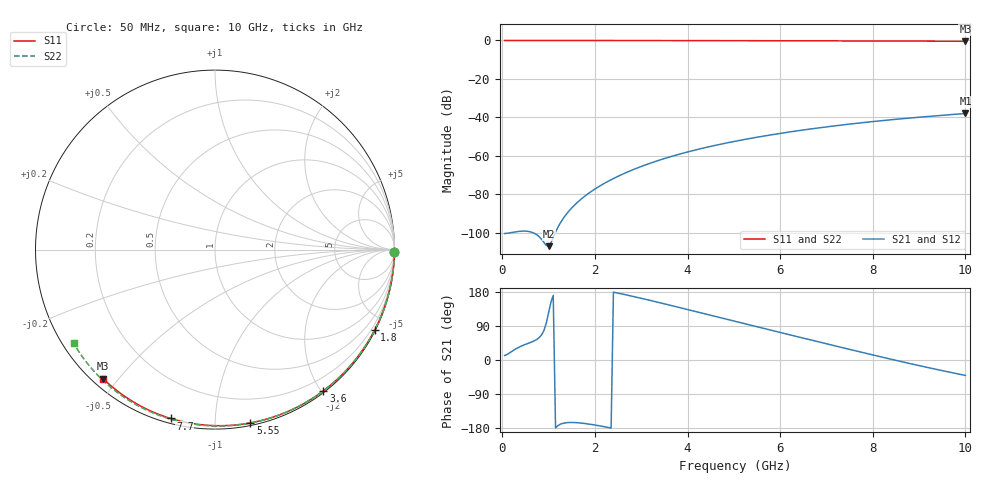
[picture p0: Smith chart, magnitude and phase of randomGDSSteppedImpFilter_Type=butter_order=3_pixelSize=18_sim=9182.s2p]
! freq	dB(S11)	phase(S11)	dB(S12)	phase(S12)
!  dB(S21)	phase(S21)	dB(S22)	phase(S22)
!S-par simulation data
#  GHz  S  DB  R 50
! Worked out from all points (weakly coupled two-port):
!   200 points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, 50 MHz to 10 GHz, reference 50 ohm
!   highest |S21| = -37.93 dB at 10 GHz (marker M1); lowest = -106.8 dB at 1 GHz (marker M2)
!   lowest |S11| = -0.4 dB at 10 GHz (marker M3), VSWR 40.23, Z = 1.5 - j22.8 ohm
!   |S11| at or under -10 dB: nowhere
!   |S22| runs from -0.5 to 0.0 dB; largest |S21 - S12| = 0
!   S11 on the Smith chart (normalised r, x): 50 MHz: open; 1.8 GHz: 0.04, -4.19; 3.6 GHz: 0.02, -2.03; 5.55 GHz: 0.02, -1.23; 7.7 GHz: 0.02, -0.77; 10 GHz: 0.03, -0.46
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0.05  -0.00 -0.8  -100.29 11.8  -100.29 11.8  -0.00 -0.9
0.5  -0.01 -7.5  -99.02 41.2  -99.02 41.2  -0.01 -8.5
1  -0.02 -15.0  -106.85 124.9  -106.85 124.9  -0.02 -16.9
1.75  -0.03 -26.1  -81.47 -167.1  -81.47 -167.1  -0.04 -29.3
1.8  -0.03 -26.8  -80.53 -167.9  -80.53 -167.9  -0.04 -30.1
1.85  -0.04 -27.6  -79.64 -168.7  -79.64 -168.7  -0.04 -31.0
2.05  -0.04 -30.5  -76.40 -172.6  -76.40 -172.6  -0.04 -34.2
2.25  -0.04 -33.4  -73.60 -177.2  -73.60 -177.2  -0.05 -37.5
2.55  -0.05 -37.7  -69.97 175.3  -69.97 175.3  -0.05 -42.3
2.95  -0.06 -43.4  -65.90 164.3  -65.90 164.3  -0.06 -48.6
3.4  -0.07 -49.7  -62.09 151.2  -62.09 151.2  -0.07 -55.7
3.6  -0.07 -52.5  -60.60 145.3  -60.60 145.3  -0.08 -58.8
3.9  -0.08 -56.6  -58.55 136.2  -58.55 136.2  -0.09 -63.3
4.3  -0.09 -62.0  -56.12 124.1  -56.12 124.1  -0.10 -69.4
5.05  -0.11 -72.0  -52.25 101.3  -52.25 101.3  -0.12 -80.4
5.55  -0.13 -78.4  -50.05 86.2  -50.05 86.2  -0.14 -87.5
6.1  -0.15 -85.4  -47.91 69.7  -47.91 69.7  -0.17 -95.2
6.7  -0.18 -92.8  -45.84 51.7  -45.84 51.7  -0.20 -103.4
7.7  -0.24 -104.7  -42.90 22.1  -42.90 22.1  -0.27 -116.7
8.35  -0.29 -112.3  -41.29 3.3  -41.29 3.3  -0.32 -125.1
9.2  -0.36 -122.0  -39.47 -20.2  -39.47 -20.2  -0.40 -136.1
10  -0.43 -131.0  -37.93 -40.7  -37.93 -40.7  -0.49 -146.4
